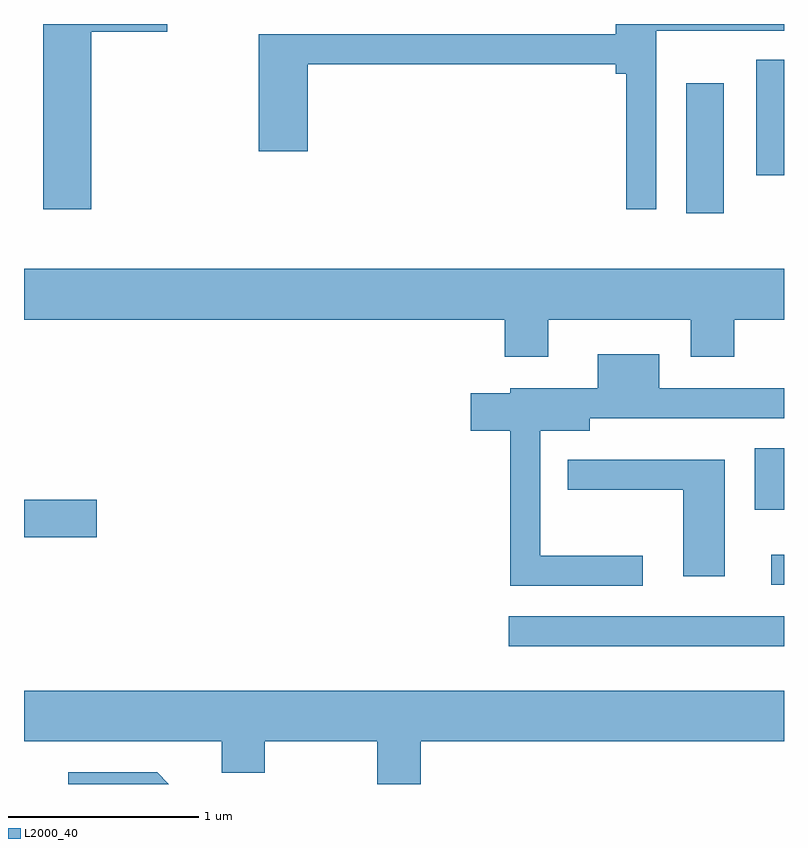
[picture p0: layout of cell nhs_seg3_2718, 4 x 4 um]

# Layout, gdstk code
import gdstk
lib = gdstk.Library(unit=1e-6, precision=1e-09)
def R(c, l, rs):  # rectangles x0, y0, x1, y1
    for r in rs: c.add(gdstk.rectangle(r[:2], r[2:], *l))
def P(c, l, *ps):  # polygons
    for p in ps: c.add(gdstk.Polygon(p, *l))
L2000_40 = (2000, 40)

nhs_seg3_2718 = lib.new_cell('nhs_seg3_2718')
R(nhs_seg3_2718, L2000_40, [(266.163,1248.616,267.611,1248.774), (267.543,1248.941,267.611,1249.099), (263.611,1249.191,263.994,1249.389), (267.456,1249.336,267.611,1249.659), (267.096,1250.896,267.294,1251.579), (267.466,1251.096,267.611,1251.704)])
P(nhs_seg3_2718, L2000_40, [(266.939,1251.856),(267.611,1251.856),(267.611,1251.892),(266.726,1251.892),(266.726,1251.839),(264.846,1251.839),(264.846,1251.221),(265.104,1251.221),(265.104,1251.681),(266.726,1251.681),(266.726,1251.631),(266.781,1251.631),(266.781,1250.918),(266.939,1250.918)],
  [(263.964,1251.851),(264.364,1251.851),(264.364,1251.892),(263.711,1251.892),(263.711,1250.916),(263.964,1250.916)],
  [(266.369,1250.336),(267.121,1250.336),(267.121,1250.141),(267.349,1250.141),(267.349,1250.336),(267.611,1250.336),(267.611,1250.604),(263.611,1250.604),(263.611,1250.336),(266.141,1250.336),(266.141,1250.141),(266.369,1250.141)],
  [(266.868,1249.094),(266.329,1249.094),(266.329,1249.751),(266.589,1249.751),(266.589,1249.816),(267.611,1249.816),(267.611,1249.974),(266.954,1249.974),(266.954,1250.154),(266.631,1250.154),(266.631,1249.974),(266.171,1249.974),(266.171,1249.949),(265.961,1249.949),(265.961,1249.751),(266.171,1249.751),(266.171,1248.936),(266.868,1248.936)],
  [(267.299,1249.599),(266.473,1249.599),(266.473,1249.441),(267.081,1249.441),(267.081,1248.986),(267.299,1248.986)],
  [(265.699,1248.116),(267.611,1248.116),(267.611,1248.384),(263.611,1248.384),(263.611,1248.116),(264.651,1248.116),(264.651,1247.951),(264.879,1247.951),(264.879,1248.116),(265.471,1248.116),(265.471,1247.892),(265.699,1247.892)],
  [(264.312,1247.954),(263.843,1247.954),(263.843,1247.892),(264.374,1247.892)])

lib.write_gds('nhs_seg3_2718.gds')
